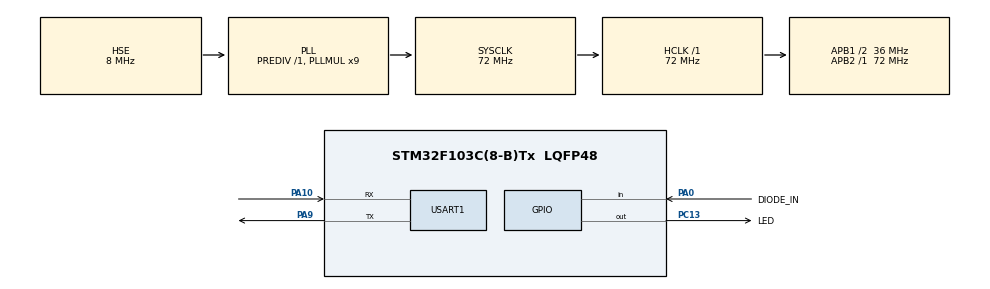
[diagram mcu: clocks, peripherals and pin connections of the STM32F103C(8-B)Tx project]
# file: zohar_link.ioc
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Mcu.Family=STM32F1
Mcu.Name=STM32F103C(8-B)Tx
Mcu.Package=LQFP48
NVIC.PriorityGroup=NVIC_PRIORITYGROUP_4
PA0-WKUP.GPIO_Label=DIODE_IN
PA0-WKUP.GPIO_PuPd=GPIO_PULLDOWN
PA0-WKUP.Signal=GPIO_Input
PA10.Mode=Asynchronous
PA10.Signal=USART1_RX
PA13.Mode=Serial_Wire
PA13.Signal=SYS_JTMS-SWDIO
PA14.Mode=Serial_Wire
PA14.Signal=SYS_JTCK-SWCLK
PA9.Mode=Asynchronous
PA9.Signal=USART1_TX
PC13-TAMPER-RTC.GPIO_Label=LED
PC13-TAMPER-RTC.Signal=GPIO_Output
PD0-OSC_IN.Mode=HSE-External-Oscillator
PD0-OSC_IN.Signal=RCC_OSC_IN
PD1-OSC_OUT.Mode=HSE-External-Oscillator
PD1-OSC_OUT.Signal=RCC_OSC_OUT
ProjectManager.HeapSize=0x200
ProjectManager.StackSize=0x400
ProjectManager.TargetToolchain=STM32CubeIDE
RCC.ADCPresc=RCC_ADCPCLK2_DIV6
RCC.AHBFreq_Value=72000000
RCC.APB1CLKDivider=RCC_HCLK_DIV2
RCC.APB1Freq_Value=36000000
RCC.APB1TimFreq_Value=72000000
RCC.APB2Freq_Value=72000000
RCC.APB2TimFreq_Value=72000000
RCC.HCLKFreq_Value=72000000
RCC.PLLMUL=RCC_PLL_MUL9
RCC.PLLSourceVirtual=RCC_PLLSOURCE_HSE
RCC.SYSCLKFreq_VALUE=72000000
RCC.SYSCLKSource=RCC_SYSCLKSOURCE_PLLCLK
RCC.USBFreq_Value=72000000
USART1.VirtualMode=VM_ASYNC
board=custom

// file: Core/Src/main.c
/* USER CODE BEGIN Header */
/**
  ******************************************************************************
  * @file           : main.c
  * @brief          : Main program body
  ******************************************************************************
  * @attention
  *
  * Copyright (c) 2026 STMicroelectronics.
  * All rights reserved.
  *
  * This software is licensed under terms that can be found in the LICENSE file
  * in the root directory of this software component.
  * If no LICENSE file comes with this software, it is provided AS-IS.
  *
  ******************************************************************************
  */
/* USER CODE END Header */
#include "main.h"

/* USER CODE BEGIN Includes */
#include <stdbool.h>
#include <stdio.h>
#include <string.h>

/* USER CODE END Includes */

/* USER CODE BEGIN PTD */
#define THRESHOLD 300
#define HALF_BIT_US   5000   // 5ms — половина бита при 100 baud
#define QUARTER_BIT_US 2500
/* USER CODE END PTD */

UART_HandleTypeDef huart1;

void SystemClock_Config(void);
static void MX_GPIO_Init(void);
static void MX_USART1_UART_Init(void);

/* USER CODE BEGIN 0 */
void delay_us(uint32_t us) {
    uint32_t start = DWT->CYCCNT;
    uint32_t ticks = us * (SystemCoreClock / 1000000);
    while ((DWT->CYCCNT - start) < ticks);
}

bool isLight(void) {
    return HAL_GPIO_ReadPin(DIODE_IN_GPIO_Port, DIODE_IN_Pin) == GPIO_PIN_SET;
}

bool readManchester(uint8_t *outByte) {
    delay_us(2500);
    if (!isLight()) return false;

    uint8_t receivedByte = 0;

    for (int i = 0; i < 8; i++) {
        delay_us(5000);
        bool firstHalf = isLight();

        delay_us(5000);
        bool secondHalf = isLight();

        if (!firstHalf && secondHalf) {
            receivedByte |= (1 << i);
        } else if (firstHalf && !secondHalf) {
        } else {
            return false;
        }
    }

    *outByte = receivedByte;
    return true;
}
/* USER CODE END 0 */

int main(void)
{

  /* USER CODE BEGIN 1 */
	CoreDebug->DEMCR |= CoreDebug_DEMCR_TRCENA_Msk;
	DWT->CYCCNT = 0;
	DWT->CTRL |= DWT_CTRL_CYCCNTENA_Msk;
  /* USER CODE END 1 */

  /* MCU Configuration--------------------------------------------------------*/

  /* Reset of all peripherals, Initializes the Flash interface and the Systick. */
  HAL_Init();

  /* Configure the system clock */
  SystemClock_Config();

  /* Initialize all configured peripherals */
  MX_GPIO_Init();
  MX_USART1_UART_Init();

  /* Infinite loop */
  while (1)
  {

    /* USER CODE BEGIN 3 */
	  while (isLight()) { }
	  while (!isLight()) { }
	  uint8_t byte = 0;
	  if (readManchester(&byte)) {
	      HAL_UART_Transmit(&huart1, &byte, 1, 100);
	  }

	  while (isLight()) { }
	  delay_us(2000);
  }
  /* USER CODE END 3 */
}

void SystemClock_Config(void)
{
  RCC_OscInitTypeDef RCC_OscInitStruct = {0};
  RCC_ClkInitTypeDef RCC_ClkInitStruct = {0};

  /** Initializes the RCC Oscillators according to the specified parameters
  * in the RCC_OscInitTypeDef structure.
  */
  RCC_OscInitStruct.OscillatorType = RCC_OSCILLATORTYPE_HSE;
  RCC_OscInitStruct.HSEState = RCC_HSE_ON;
  RCC_OscInitStruct.HSEPredivValue = RCC_HSE_PREDIV_DIV1;
  RCC_OscInitStruct.HSIState = RCC_HSI_ON;
  RCC_OscInitStruct.PLL.PLLState = RCC_PLL_ON;
  RCC_OscInitStruct.PLL.PLLSource = RCC_PLLSOURCE_HSE;
  RCC_OscInitStruct.PLL.PLLMUL = RCC_PLL_MUL9;
  if (HAL_RCC_OscConfig(&RCC_OscInitStruct) != HAL_OK)
  {
    Error_Handler();
  }

  /** Initializes the CPU, AHB and APB buses clocks
  */
  RCC_ClkInitStruct.ClockType = RCC_CLOCKTYPE_HCLK|RCC_CLOCKTYPE_SYSCLK
                              |RCC_CLOCKTYPE_PCLK1|RCC_CLOCKTYPE_PCLK2;
  RCC_ClkInitStruct.SYSCLKSource = RCC_SYSCLKSOURCE_PLLCLK;
  RCC_ClkInitStruct.AHBCLKDivider = RCC_SYSCLK_DIV1;
  RCC_ClkInitStruct.APB1CLKDivider = RCC_HCLK_DIV2;
  RCC_ClkInitStruct.APB2CLKDivider = RCC_HCLK_DIV1;

  if (HAL_RCC_ClockConfig(&RCC_ClkInitStruct, FLASH_LATENCY_2) != HAL_OK)
  {
    Error_Handler();
  }
}

static void MX_USART1_UART_Init(void)
{

  huart1.Instance = USART1;
  huart1.Init.BaudRate = 115200;
  huart1.Init.WordLength = UART_WORDLENGTH_8B;
  huart1.Init.StopBits = UART_STOPBITS_1;
  huart1.Init.Parity = UART_PARITY_NONE;
  huart1.Init.Mode = UART_MODE_TX_RX;
  huart1.Init.HwFlowCtl = UART_HWCONTROL_NONE;
  huart1.Init.OverSampling = UART_OVERSAMPLING_16;
  if (HAL_UART_Init(&huart1) != HAL_OK)
  {
    Error_Handler();
  }

}

static void MX_GPIO_Init(void)
{
  GPIO_InitTypeDef GPIO_InitStruct = {0};

  /* GPIO Ports Clock Enable */
  __HAL_RCC_GPIOC_CLK_ENABLE();
  __HAL_RCC_GPIOD_CLK_ENABLE();
  __HAL_RCC_GPIOA_CLK_ENABLE();

  /*Configure GPIO pin Output Level */
  HAL_GPIO_WritePin(LED_GPIO_Port, LED_Pin, GPIO_PIN_RESET);

  /*Configure GPIO pin : LED_Pin */
  GPIO_InitStruct.Pin = LED_Pin;
  GPIO_InitStruct.Mode = GPIO_MODE_OUTPUT_PP;
  GPIO_InitStruct.Pull = GPIO_NOPULL;
  GPIO_InitStruct.Speed = GPIO_SPEED_FREQ_LOW;
  HAL_GPIO_Init(LED_GPIO_Port, &GPIO_InitStruct);

  /*Configure GPIO pin : DIODE_IN_Pin */
  GPIO_InitStruct.Pin = DIODE_IN_Pin;
  GPIO_InitStruct.Mode = GPIO_MODE_INPUT;
  GPIO_InitStruct.Pull = GPIO_PULLDOWN;
  HAL_GPIO_Init(DIODE_IN_GPIO_Port, &GPIO_InitStruct);

}

void Error_Handler(void)
{
  __disable_irq();
  while (1)
  {
  }
}
